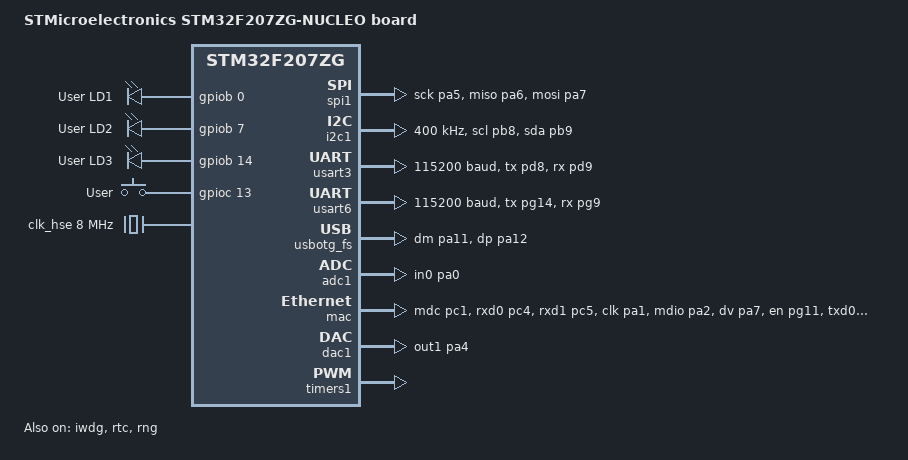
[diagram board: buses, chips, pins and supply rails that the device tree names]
/*
 * Copyright (c) 2018 qianfan Zhao
 *
 * SPDX-License-Identifier: Apache-2.0
 */

/dts-v1/;
#include <st/f2/stm32f207Xg.dtsi>
#include <st/f2/stm32f207z(c-e-f-g)tx-pinctrl.dtsi>
#include "arduino_r3_connector.dtsi"

/ {
	model = "STMicroelectronics STM32F207ZG-NUCLEO board";
	compatible = "st,stm32f207zg-nucleo";

	chosen {
		zephyr,console = &usart3;
		zephyr,shell-uart = &usart3;
		zephyr,sram = &sram0;
		zephyr,flash = &flash0;
	};

	leds {
		compatible = "gpio-leds";
		green_led_1: led_1 {
			gpios = <&gpiob 0 GPIO_ACTIVE_HIGH>;
			label = "User LD1";
		};
		blue_led_1: led_2 {
			gpios = <&gpiob 7 GPIO_ACTIVE_HIGH>;
			label = "User LD2";
		};
		red_led_1: led_3 {
			gpios = <&gpiob 14 GPIO_ACTIVE_HIGH>;
			label = "User LD3";
		};
	};

	gpio_keys {
		compatible = "gpio-keys";
		user_button: button {
			label = "User";
			gpios = <&gpioc 13 GPIO_ACTIVE_HIGH>;
		};
	};

	aliases {
		led0 = &green_led_1;
		led1 = &blue_led_1;
		led2 = &red_led_1;
		sw0 = &user_button;
	};
};

&clk_hse {
	hse-bypass;
	clock-frequency = <DT_FREQ_M(8)>; /* STLink 8MHz clock */
	status = "okay";
};

&pll {
	div-m = <8>;
	mul-n = <240>;
	div-p = <2>;
	div-q = <5>;
	clocks = <&clk_hse>;
	status = "okay";
};

&rcc {
	clocks = <&pll>;
	clock-frequency = <DT_FREQ_M(120)>;
	ahb-prescaler = <1>;
	apb1-prescaler = <4>;
	apb2-prescaler = <2>;
};

&spi1 {
	pinctrl-0 = <&spi1_sck_pa5 &spi1_miso_pa6 &spi1_mosi_pa7>;
	cs-gpios = <&gpiod 14 (GPIO_ACTIVE_LOW | GPIO_PULL_UP)>;
	status = "okay";
};

&i2c1 {
	pinctrl-0 = <&i2c1_scl_pb8 &i2c1_sda_pb9>;
	status = "okay";
	clock-frequency = <I2C_BITRATE_FAST>;
};

&usart3 {
	pinctrl-0 = <&usart3_tx_pd8 &usart3_rx_pd9>;
	current-speed = <115200>;
	status = "okay";
};

&usart6 {
	pinctrl-0 = <&usart6_tx_pg14 &usart6_rx_pg9>;
	current-speed = <115200>;
	status = "okay";
};

&usbotg_fs {
	pinctrl-0 = <&usb_otg_fs_dm_pa11 &usb_otg_fs_dp_pa12>;
	status = "okay";
};

&iwdg {
	status = "okay";
};

&rtc {
	status = "okay";
};

&rng {
	status = "okay";
};

&adc1 {
	pinctrl-0 = <&adc1_in0_pa0>;
	status = "okay";
};

&dma2 {
	status = "okay";
};

&mac {
	status = "okay";
	pinctrl-0 = <&eth_mdc_pc1
		     &eth_rxd0_pc4
		     &eth_rxd1_pc5
		     &eth_ref_clk_pa1
		     &eth_mdio_pa2
		     &eth_crs_dv_pa7
		     &eth_tx_en_pg11
		     &eth_txd0_pg13
		     &eth_txd1_pb13>;
};

&flash0 {
	partitions {
		compatible = "fixed-partitions";
		#address-cells = <1>;
		#size-cells = <1>;

		/* Last sector of size 128KB at the end of 1MB flash is set
		 * for storage.
		 */
		storage_partition: partition@e0000 {
			label = "storage";
			reg = <0x000e0000 0x00020000>;
		};
	};
};

&dac1 {
	status = "okay";
	pinctrl-0 = <&dac_out1_pa4>;
};

&backup_sram {
	status = "okay";
};

&timers1 {
	status = "okay";

	pwm1: pwm {
		status = "okay";
		pinctrl-0 = <&tim1_ch1_pe9>;
	};
};
